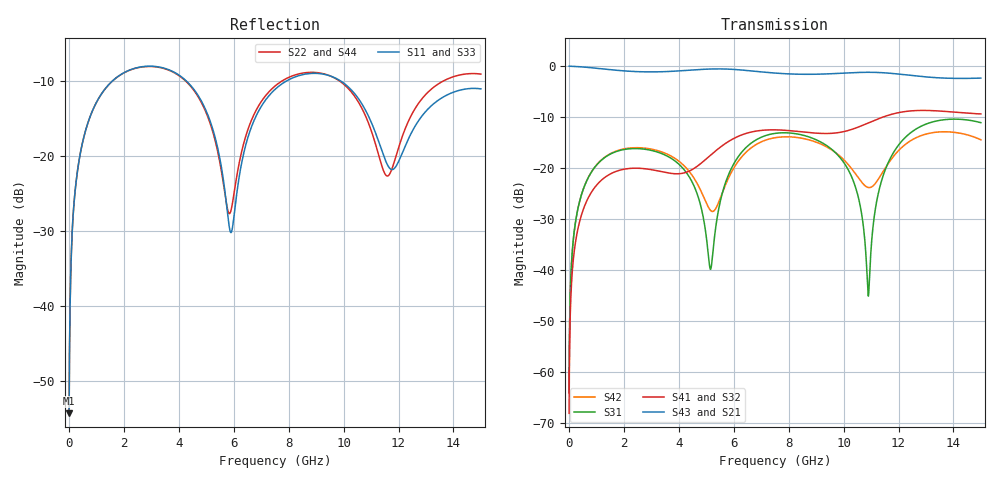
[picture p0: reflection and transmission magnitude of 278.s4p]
! Created with skrf 1.8.0 (http://scikit-rf.org).
# GHz S RI R 50.0
!freq ReS11 ImS11 ReS12 ImS12 ReS13 ImS13
! ReS14 ImS14
! ReS21 ImS21 ReS22 ImS22 ReS23 ImS23
! ReS24 ImS24
! ReS31 ImS31 ReS32 ImS32 ReS33 ImS33
! ReS34 ImS34
! ReS41 ImS41 ReS42 ImS42 ReS43 ImS43
! ReS44 ImS44
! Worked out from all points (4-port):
!   2499 points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, 5 MHz to 15 GHz, reference 50 ohm
!   strongest paths, dB at 5 MHz, 3.476 GHz, 7.19 GHz, 11.1 GHz, 15 GHz:
!     S43: 0.0, -1.1, -1.2, -1.2, -2.3
!     S21: 0.0, -1.1, -1.2, -1.2, -2.4
!     S41: -68.1, -20.8, -12.5, -10.7, -9.4
!     S32: -68.1, -20.8, -12.5, -10.7, -9.4
!     S31: -64.0, -17.4, -13.6, -30.3, -11.1
!     S42: -64.0, -17.0, -14.5, -23.3, -14.4
!   lowest |S11| = -54.3 dB at 5 MHz (marker M1), VSWR 1.00, Z = 50.2 + j0.117 ohm
!   |S11| at or under -10 dB: start of sweep to 1.597 GHz; 4.258 GHz to 7.947 GHz (3.69 GHz wide, 60.5 % of centre); 9.868 GHz to end of sweep
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0.005  0.00153 0.00116  0.9984 -0.00298  7.71e-05 0.000623  -7.49e-05 -0.000388
       0.9984 -0.00298  0.00153 0.00116  -7.49e-05 -0.000388  7.72e-05 0.000623
       7.71e-05 0.000623  -7.49e-05 -0.000388  0.00153 0.00116  0.9984 -0.00298
       -7.49e-05 -0.000388  7.72e-05 0.000623  0.9984 -0.00298  0.00153 0.00116
0.3126303  0.0215 0.0769  0.9707 -0.1861  0.00979 0.0373  -0.00827 -0.023
           0.9707 -0.1861  0.0214 0.0769  -0.00827 -0.023  0.0101 0.0372
           0.00979 0.0373  -0.00827 -0.023  0.0215 0.0769  0.9707 -0.1861
           -0.00827 -0.023  0.0101 0.0372  0.9707 -0.1861  0.0214 0.0769
1.519383  0.2436 0.1862  0.6056 -0.6943  0.1174 0.0724  -0.0867 -0.0155
          0.6056 -0.6943  0.2423 0.1868  -0.0867 -0.0155  0.1218 0.0672
          0.1174 0.0724  -0.0867 -0.0155  0.2436 0.1861  0.6057 -0.6943
          -0.0867 -0.0155  0.1218 0.0672  0.6057 -0.6943  0.2422 0.1868
5.677366  0.0325 -0.0483  -0.9236 -0.1553  0.0153 0.0673  -0.0263 0.171
          -0.9236 -0.1553  0.042 -0.037  -0.0277 0.1709  -0.0349 0.0564
          0.0153 0.0673  -0.0277 0.1709  0.031 -0.0473  -0.9237 -0.1554
          -0.0263 0.171  -0.0349 0.0564  -0.9237 -0.1554  0.0431 -0.0358
9.19133  0.3473 -0.049  0.0409 0.8329  0.1548 -0.0898  0.204 -0.0792
         0.0409 0.8329  0.348 -0.0627  0.2045 -0.0765  0.1477 -0.0869
         0.1548 -0.0898  0.2045 -0.0765  0.3455 -0.0469  0.0397 0.8339
         0.204 -0.0792  0.1477 -0.0869  0.0397 0.8339  0.3452 -0.0632
10.89829  0.1318 -0.1294  0.7062 0.5062  -0.00541 -0.00134  0.1536 -0.2308
          0.7062 0.5062  0.117 -0.1181  0.1572 -0.2286  -0.0573 -0.0299
          -0.00541 -0.00134  0.1572 -0.2286  0.1296 -0.1251  0.7063 0.5076
          0.1536 -0.2308  -0.0573 -0.0299  0.7063 0.5076  0.1145 -0.1144
15  0.2765 -0.0324  0.0827 -0.758  0.2205 -0.1707  -0.3362 0.0503
    0.0827 -0.758  0.3404 -0.0776  -0.3364 0.0438  0.1864 -0.0338
    0.2205 -0.1707  -0.3364 0.0438  0.2765 -0.0275  0.0883 -0.7581
    -0.3362 0.0503  0.1864 -0.0338  0.0883 -0.7581  0.3378 -0.0786
